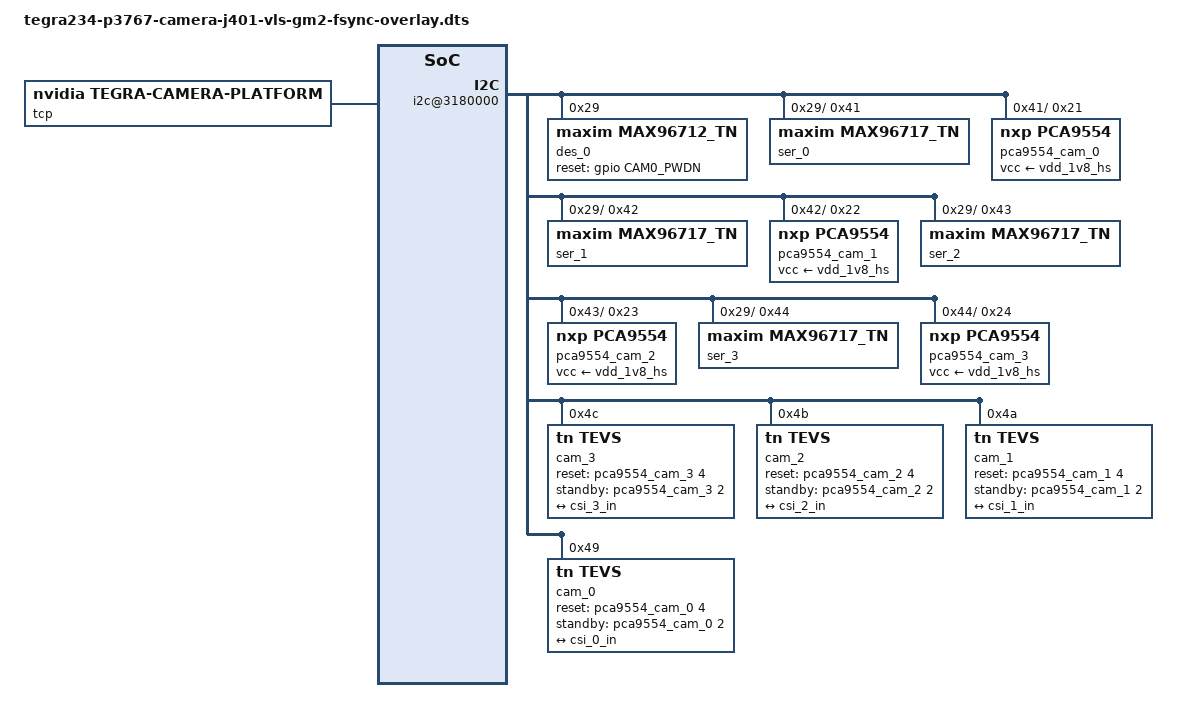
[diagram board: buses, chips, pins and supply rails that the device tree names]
// SPDX-License-Identifier: GPL-2.0-only
// SPDX-FileCopyrightText: Copyright (c) 2023, NVIDIA CORPORATION & AFFILIATES. All rights reserved.

/dts-v1/;
/plugin/;

#include <dt-bindings/tegra234-p3767-0000-common.h>
#include <dt-bindings/pinctrl/pinctrl-tegra.h>

#define CAM0_RST_L	TEGRA234_MAIN_GPIO(H, 3)
#define CAM0_PWDN   TEGRA234_MAIN_GPIO(H, 6)
#define MFP9 		TEGRA234_MAIN_GPIO(AC, 0)
#define MFP10  		TEGRA234_MAIN_GPIO(Z, 7)

#define SYNC_OUT	TEGRA234_MAIN_GPIO(G, 6)

#define CAM_I2C_MUX 	TEGRA234_AON_GPIO(CC, 3)

#define CAM_NUM					4

#define CAM0_PORT 				2
#define CAM0_LANES 				4
#define CAM0_VC_ID 				0
#define CAM0_LANES_STRING 		"4"
#define CAM0_SINTERFACE			"serial_c"
#define CAM0_LANE_POLARITY		"0"
#define CAM0_PIXEL_CLK			"140000000"
// #define CAM0_SERDES_PIXEL_CLK	"625000000"
#define CAM0_SERDES_LINK_FREQ	"1250000000"
#define CAM0_DES_PHY_ID			1

#define CAM1_PORT 				2
#define CAM1_LANES 				4
#define CAM1_VC_ID 				1
#define CAM1_LANES_STRING 		"4"
#define CAM1_SINTERFACE			"serial_c"
#define CAM1_LANE_POLARITY		"0"
#define CAM1_PIXEL_CLK			"140000000"
// #define CAM1_SERDES_PIXEL_CLK	"625000000"
#define CAM1_SERDES_LINK_FREQ	"1250000000"
#define CAM1_DES_PHY_ID			1

#define CAM2_PORT 				2
#define CAM2_LANES 				4
#define CAM2_VC_ID 				2
#define CAM2_LANES_STRING 		"4"
#define CAM2_SINTERFACE			"serial_c"
#define CAM2_LANE_POLARITY		"0"
#define CAM2_PIXEL_CLK			"140000000"
// #define CAM2_SERDES_PIXEL_CLK	"625000000"
#define CAM2_SERDES_LINK_FREQ	"1250000000"
#define CAM2_DES_PHY_ID			1

#define CAM3_PORT 				2
#define CAM3_LANES 				4
#define CAM3_VC_ID 				3
#define CAM3_LANES_STRING 		"4"
#define CAM3_SINTERFACE			"serial_c"
#define CAM3_LANE_POLARITY		"0"
#define CAM3_PIXEL_CLK			"140000000"
// #define CAM3_SERDES_PIXEL_CLK	"625000000"
#define CAM3_SERDES_LINK_FREQ	"1250000000"
#define CAM3_DES_PHY_ID			1

#define DES_LINK_FREQ			1250000000
#define TEVS_LINK_FREQ			280000000

#define TEVS_MODE_COMMON(LANES, SINTERFACE, LANE_POLARITY, PIXEL_CLK, SERDES_LINK_FREQ)	\
	mclk_khz = "24000";							\
	num_lanes = LANES;							\
	tegra_sinterface = SINTERFACE;				\
	lane_polarity = LANE_POLARITY;				\
	phy_mode = "DPHY";							\
	discontinuous_clk = "no";					\
	dpcm_enable = "false";						\
	cil_settletime = "0";						\
	mode_type = "yuv";							\
	pixel_phase = "uyvy";						\
	csi_pixel_bit_depth = "16";					\
	readout_orientation = "90";					\
	line_length = "3448";						\
	inherent_gain = "1";						\
	mclk_multiplier = "9.33";					\
	pix_clk_hz = PIXEL_CLK;						\
	serdes_link_freq = SERDES_LINK_FREQ;		\
	gain_factor = "16";							\
	framerate_factor = "1000000";				\
	exposure_factor = "1000000";				\
	min_gain_val = "16";						\
	max_gain_val = "170";						\
	step_gain_val = "1";						\
	default_gain = "16";						\
	min_hdr_ratio = "1";						\
	max_hdr_ratio = "1";						\
	min_framerate = "2000000";					\
	step_framerate = "1";						\
	min_exp_time = "13";						\
	max_exp_time = "683709";					\
	step_exp_time = "1";						\
	default_exp_time = "2495";					\
	embedded_metadata_height = "0";

#define TEVS_MODES(LANES, SINTERFACE, LANE_POLARITY, PIXEL_CLK, SERDES_LINK_FREQ)	\
	mode0 {										\
		TEVS_MODE_COMMON(LANES, SINTERFACE, LANE_POLARITY, PIXEL_CLK, SERDES_LINK_FREQ)	\
		active_w = "3280";						\
		active_h = "2464";						\
		max_framerate = "21000000";				\
		default_framerate = "21000000";			\
	};											\
	mode1 {										\
		TEVS_MODE_COMMON(LANES, SINTERFACE, LANE_POLARITY, PIXEL_CLK, SERDES_LINK_FREQ)	\
		active_w = "3280";						\
		active_h = "1848";						\
		max_framerate = "28000000";				\
		default_framerate = "28000000";			\
	};											\
	mode2 {										\
		TEVS_MODE_COMMON(LANES, SINTERFACE, LANE_POLARITY, PIXEL_CLK, SERDES_LINK_FREQ)	\
		active_w = "1920";						\
		active_h = "1080";						\
		max_framerate = "30000000";				\
		default_framerate = "30000000";			\
	};											\
	mode3 {										\
		TEVS_MODE_COMMON(LANES, SINTERFACE, LANE_POLARITY, PIXEL_CLK, SERDES_LINK_FREQ)	\
		active_w = "1640";						\
		active_h = "1232";						\
		max_framerate = "30000000";				\
		default_framerate = "30000000";			\
	};											\
	mode4 {										\
		TEVS_MODE_COMMON(LANES, SINTERFACE, LANE_POLARITY, PIXEL_CLK, SERDES_LINK_FREQ)	\
		active_w = "1280";						\
		active_h = "720";						\
		max_framerate = "60000000";				\
		default_framerate = "60000000";			\
	};											\
	mode5 {										\
		TEVS_MODE_COMMON(LANES, SINTERFACE, LANE_POLARITY, PIXEL_CLK, SERDES_LINK_FREQ)	\
		active_w = "640";						\
		active_h = "480";						\
		max_framerate = "60000000";				\
		default_framerate = "60000000";			\
	};

/ {
	overlay-name = "TechNexion VLS-GM2 Camera with FSYNC Pixel Mode";
	jetson-header-name = "Jetson 24pin CSI Connector";
	compatible = JETSON_COMPATIBLE_P3768;

	fragment@0 {
		target-path = "/";
		__overlay__ {
			tegra-capture-vi  {
				num-channels = <CAM_NUM>;
				ports {
					#address-cells = <1>;
					#size-cells = <0>;

					vi_port0: port@0 {
						reg = <0>;

						vi_in0: endpoint {
							vc-id = <CAM0_VC_ID>;
							port-index = <CAM0_PORT>;
							bus-width = <CAM0_LANES>;
							remote-endpoint = <&csi_0_out>;
						};
					};

					vi_port1: port@1 {
						reg = <1>;

						vi_in1: endpoint {
							vc-id = <CAM1_VC_ID>;
							port-index = <CAM1_PORT>;
							bus-width = <CAM1_LANES>;
							remote-endpoint = <&csi_1_out>;
						};
					};

					vi_port2: port@2 {
						reg = <2>;

						vi_in2: endpoint {
							vc-id = <CAM2_VC_ID>;
							port-index = <CAM2_PORT>;
							bus-width = <CAM2_LANES>;
							remote-endpoint = <&csi_2_out>;
						};
					};

					vi_port3: port@3 {
						reg = <3>;

						vi_in3: endpoint {
							vc-id = <CAM3_VC_ID>;
							port-index = <CAM3_PORT>;
							bus-width = <CAM3_LANES>;
							remote-endpoint = <&csi_3_out>;
						};
					};
				};
			};

			tcp: tegra-camera-platform {
				compatible = "nvidia, tegra-camera-platform";
				/**
				* Physical settings to calculate max ISO BW
				*
				* num_csi_lanes = <>;
				* Total number of CSI lanes when all cameras are active
				*
				* max_lane_speed = <>;
				* Max lane speed in Kbit/s
				*
				* min_bits_per_pixel = <>;
				* Min bits per pixel
				*
				* vi_peak_byte_per_pixel = <>;
				* Max byte per pixel for the VI ISO case
				*
				* vi_bw_margin_pct = <>;
				* Vi bandwidth margin in percentage
				*
				* max_pixel_rate = <>;
				* Max pixel rate in Kpixel/s for the ISP ISO case
				*
				* isp_peak_byte_per_pixel = <>;
				* Max byte per pixel for the ISP ISO case
				*
				* isp_bw_margin_pct = <>;
				* Isp bandwidth margin in percentage
				*/
				num_csi_lanes = <4>;
				max_lane_speed = <2500000>;
				min_bits_per_pixel = <16>;
				vi_peak_byte_per_pixel = <2>;
				vi_bw_margin_pct = <25>;
				// max_pixel_rate = <240000>;
				// isp_peak_byte_per_pixel = <5>;
				// isp_bw_margin_pct = <25>;

				/**
				 * The general guideline for naming badge_info contains 3 parts, and is as follows,
				 * The first part is the camera_board_id for the module; if the module is in a FFD
				 * platform, then use the platform name for this part.
				 * The second part contains the position of the module, ex. "rear" or "front".
				 * The third part contains the last 6 characters of a part number which is found
				 * in the module's specsheet from the vendor.
				 */
				modules {
					cam_module0: module0 {
						badge = "jakku_front_RBP194";
						position = "front";
						orientation = "1";
						cam_module0_drivernode0: drivernode0 {
							pcl_id = "v4l2_sensor";
							sysfs-device-tree = "/sys/firmware/devicetree/base/bus@0/i2c@3180000/rpi22_tevs_a@49";
						};
					};

					cam_module1: module1 {
						badge = "jakku_front_RBP194";
						position = "front";
						orientation = "1";
						cam_module1_drivernode0: drivernode0 {
							pcl_id = "v4l2_sensor";
							sysfs-device-tree = "/sys/firmware/devicetree/base/bus@0/i2c@3180000/rpi22_tevs_b@4a";
						};
					};

					cam_module2: module2 {
						badge = "jakku_front_RBP194";
						position = "front";
						orientation = "1";
						cam_module2_drivernode0: drivernode0 {
							pcl_id = "v4l2_sensor";
							sysfs-device-tree = "/sys/firmware/devicetree/base/bus@0/i2c@3180000/rpi22_tevs_c@4b";
						};
					};

					cam_module3: module3 {
						badge = "jakku_front_RBP194";
						position = "front";
						orientation = "1";
						cam_module3_drivernode0: drivernode0 {
							pcl_id = "v4l2_sensor";
							sysfs-device-tree = "/sys/firmware/devicetree/base/bus@0/i2c@3180000/rpi22_tevs_d@4c";
						};
					};
				};
			};

			bus@0 {
				host1x@13e00000 {
					nvcsi@15a00000 {
						#address-cells = <1>;
						#size-cells = <0>;

						num-channels = <CAM_NUM>;

						channel@0 {
							reg = <0>;
							ports {
								#address-cells = <1>;
								#size-cells = <0>;

								port@0 {
									reg = <0>;

									csi_0_in: endpoint@0 {
										port-index = <CAM0_PORT>;
										bus-width = <CAM0_LANES>;
										remote-endpoint = <&rpi22_tevs_0_out>;
									};
								};

								port@1 {
									reg = <1>;

									csi_0_out: endpoint@1 {
										remote-endpoint = <&vi_in0>;
									};
								};
							};
						};

						channel@1 {
							reg = <1>;
							ports {
								#address-cells = <1>;
								#size-cells = <0>;

								port@0 {
									reg = <0>;

									csi_1_in: endpoint@2 {
										port-index = <CAM1_PORT>;
										bus-width = <CAM1_LANES>;
										remote-endpoint = <&rpi22_tevs_1_out>;
									};
								};

								port@1 {
									reg = <1>;

									csi_1_out: endpoint@3 {
										remote-endpoint = <&vi_in1>;
									};
								};
							};
						};

						channel@2 {
							reg = <2>;
							ports {
								#address-cells = <1>;
								#size-cells = <0>;

								port@0 {
									reg = <0>;

									csi_2_in: endpoint@4 {
										port-index = <CAM2_PORT>;
										bus-width = <CAM2_LANES>;
										remote-endpoint = <&rpi22_tevs_2_out>;
									};
								};

								port@1 {
									reg = <1>;

									csi_2_out: endpoint@5 {
										remote-endpoint = <&vi_in2>;
									};
								};
							};
						};

						channel@3 {
							reg = <3>;
							ports {
								#address-cells = <1>;
								#size-cells = <0>;

								port@0 {
									reg = <0>;

									csi_3_in: endpoint@6 {
										port-index = <CAM3_PORT>;
										bus-width = <CAM3_LANES>;
										remote-endpoint = <&rpi22_tevs_3_out>;
									};
								};

								port@1 {
									reg = <1>;

									csi_3_out: endpoint@7 {
										remote-endpoint = <&vi_in3>;
									};
								};
							};
						};
					};
				};

				gpio@2200000 {
					camera-control-output-high {
						status = "disabled";
						gpio-hog;
						output-high;
						gpios = <CAM0_PWDN 0 MFP9 0 MFP10 0>;
						label = "cam0-pwdn", "mfp9", "mfp10";
					};
				};

				i2c@3180000 {
					des_0: gmsl-deserializer@29 {
						#address-cells = <1>;
						#size-cells = <0>;

						compatible = "maxim,max96712_tn";
						reg = <0x29>;

						reset-gpios = <&gpio CAM0_PWDN GPIO_ACTIVE_HIGH>;

						//i2c addr alias map "serializer0, serializer1, serializer2, serializer3"
						i2c-addr-alias-map-local = <0x41 0x42 0x43 0x44>;
						i2c-addr-alias-map-remote = <0x40 0x40 0x40 0x40>;
						i2c-addr-alias-source-id = <0 0 0 0>;

						gpio-controller;
						#gpio-cells = <2>;
						gpio-ranges = <&des_0 0 0 8>;

						fsync-mode = "internal";
						fsync-freq = <30>;

						i2c-mux {
							#address-cells = <1>;
							#size-cells = <0>;

							des_0_i2c_0: i2c@0 {
								#address-cells = <1>;
								#size-cells = <0>;

								reg = <0>;
							};

							des_0_i2c_1: i2c@1 {
								#address-cells = <1>;
								#size-cells = <0>;

								reg = <1>;
							};

							des_0_i2c_2: i2c@2 {
								#address-cells = <1>;
								#size-cells = <0>;

								reg = <2>;
							};

							des_0_i2c_3: i2c@3 {
								#address-cells = <1>;
								#size-cells = <0>;

								reg = <3>;
							};
						};

						phy@1 {
							reg = <1>;
						};

						pipe@0 {
							reg = <0>;

							maxim,phy-id = <CAM0_DES_PHY_ID>;
						};

						pipe@1 {
							reg = <1>;

							maxim,phy-id = <CAM1_DES_PHY_ID>;
						};

						pipe@2 {
							reg = <2>;

							maxim,phy-id = <CAM2_DES_PHY_ID>;
						};

						pipe@3 {
							reg = <3>;

							maxim,phy-id = <CAM3_DES_PHY_ID>;
						};

						channel@0 {
							reg = <0>;
							label = "des_0_ch_0";

							maxim,phy-id = <CAM0_DES_PHY_ID>;

							clock-lanes = <0>;
							data-lanes = <1 2 3 4>;
							link-frequencies = /bits/ 64 <DES_LINK_FREQ>;
						};

						channel@1 {
							reg = <1>;
							label = "des_0_ch_1";

							maxim,phy-id = <CAM1_DES_PHY_ID>;

							clock-lanes = <0>;
							data-lanes = <1 2 3 4>;
							link-frequencies = /bits/ 64 <DES_LINK_FREQ>;
						};

						channel@2 {
							reg = <2>;
							label = "des_0_ch_2";

							maxim,phy-id = <CAM2_DES_PHY_ID>;

							clock-lanes = <0>;
							data-lanes = <1 2 3 4>;
							link-frequencies = /bits/ 64 <DES_LINK_FREQ>;
						};

						channel@3 {
							reg = <3>;
							label = "des_0_ch_3";

							maxim,phy-id = <CAM3_DES_PHY_ID>;

							clock-lanes = <0>;
							data-lanes = <1 2 3 4>;
							link-frequencies = /bits/ 64 <DES_LINK_FREQ>;
						};
					};

					cam_3: rpi22_tevs_d@4c {
						compatible = "tn,tevs";
						/* I2C device address */
						reg = <0x4c>;
						status = "okay";

						reset-gpios = <&pca9554_cam_3 4 GPIO_ACTIVE_HIGH>;
						standby-gpios = <&pca9554_cam_3 2 GPIO_ACTIVE_HIGH>;
						technexion,gmsl-ser = <&ser_3>;
						technexion,gmsl-des = <&des_0>;
						technexion,gmsl-des-channel = <3>;
						trigger-mode = <2>;

						/* V4L2 device node location */
						devnode = "video3";
						/* Physical dimensions of sensor */
						physical_w = "3.680";
						physical_h = "2.760";
						sensor_model = "tevs";
						use_sensor_mode_id = "false";

						TEVS_MODES(CAM3_LANES_STRING, CAM3_SINTERFACE, CAM3_LANE_POLARITY, CAM3_PIXEL_CLK, CAM3_SERDES_LINK_FREQ)

						ports {
							#address-cells = <1>;
							#size-cells = <0>;
							port@0 {
								reg = <0>;

								rpi22_tevs_3_out: endpoint {
									port-index = <CAM3_PORT>;
									bus-width = <CAM3_LANES>;
									remote-endpoint = <&csi_3_in>;
									link-frequencies = /bits/ 64 <TEVS_LINK_FREQ>;
								};
							};
						};
					};

					cam_2: rpi22_tevs_c@4b {
						compatible = "tn,tevs";
						/* I2C device address */
						reg = <0x4b>;
						status = "okay";

						reset-gpios = <&pca9554_cam_2 4 GPIO_ACTIVE_HIGH>;
						standby-gpios = <&pca9554_cam_2 2 GPIO_ACTIVE_HIGH>;
						technexion,gmsl-ser = <&ser_2>;
						technexion,gmsl-des = <&des_0>;
						technexion,gmsl-des-channel = <2>;
						trigger-mode = <2>;

						/* V4L2 device node location */
						devnode = "video2";
						/* Physical dimensions of sensor */
						physical_w = "3.680";
						physical_h = "2.760";
						sensor_model = "tevs";
						use_sensor_mode_id = "false";

						TEVS_MODES(CAM2_LANES_STRING, CAM2_SINTERFACE, CAM2_LANE_POLARITY, CAM2_PIXEL_CLK, CAM2_SERDES_LINK_FREQ)

						ports {
							#address-cells = <1>;
							#size-cells = <0>;
							port@0 {
								reg = <0>;

								rpi22_tevs_2_out: endpoint {
									port-index = <CAM2_PORT>;
									bus-width = <CAM2_LANES>;
									remote-endpoint = <&csi_2_in>;
									link-frequencies = /bits/ 64 <TEVS_LINK_FREQ>;
								};
							};
						};
					};

					cam_1: rpi22_tevs_b@4a {
						compatible = "tn,tevs";
						/* I2C device address */
						reg = <0x4a>;
						status = "okay";

						reset-gpios = <&pca9554_cam_1 4 GPIO_ACTIVE_HIGH>;
						standby-gpios = <&pca9554_cam_1 2 GPIO_ACTIVE_HIGH>;
						technexion,gmsl-ser = <&ser_1>;
						technexion,gmsl-des = <&des_0>;
						technexion,gmsl-des-channel = <1>;
						trigger-mode = <2>;

						/* V4L2 device node location */
						devnode = "video1";
						/* Physical dimensions of sensor */
						physical_w = "3.680";
						physical_h = "2.760";
						sensor_model = "tevs";
						use_sensor_mode_id = "false";

						TEVS_MODES(CAM1_LANES_STRING, CAM1_SINTERFACE, CAM1_LANE_POLARITY, CAM1_PIXEL_CLK, CAM1_SERDES_LINK_FREQ)

						ports {
							#address-cells = <1>;
							#size-cells = <0>;
							port@0 {
								reg = <0>;

								rpi22_tevs_1_out: endpoint {
									port-index = <CAM1_PORT>;
									bus-width = <CAM1_LANES>;
									remote-endpoint = <&csi_1_in>;
									link-frequencies = /bits/ 64 <TEVS_LINK_FREQ>;
								};
							};
						};
					};

					cam_0: rpi22_tevs_a@49 {
						compatible = "tn,tevs";
						/* I2C device address */
						reg = <0x49>;
						status = "okay";

						reset-gpios = <&pca9554_cam_0 4 GPIO_ACTIVE_HIGH>;
						standby-gpios = <&pca9554_cam_0 2 GPIO_ACTIVE_HIGH>;
						technexion,gmsl-ser = <&ser_0>;
						technexion,gmsl-des = <&des_0>;
						technexion,gmsl-des-channel = <0>;
						trigger-mode = <2>;

						/* V4L2 device node location */
						devnode = "video0";
						/* Physical dimensions of sensor */
						physical_w = "3.680";
						physical_h = "2.760";
						sensor_model = "tevs";
						use_sensor_mode_id = "false";

						TEVS_MODES(CAM0_LANES_STRING, CAM0_SINTERFACE, CAM0_LANE_POLARITY, CAM0_PIXEL_CLK, CAM0_SERDES_LINK_FREQ)

						ports {
							#address-cells = <1>;
							#size-cells = <0>;
							port@0 {
								reg = <0>;

								rpi22_tevs_0_out: endpoint {
									port-index = <CAM0_PORT>;
									bus-width = <CAM0_LANES>;
									remote-endpoint = <&csi_0_in>;
									link-frequencies = /bits/ 64 <TEVS_LINK_FREQ>;
								};
							};
						};
					};
				};
			};
		};
	};
};

&des_0_i2c_0 {
	ser_0: gmsl-serializer@41 {
		#address-cells = <1>;
		#size-cells = <0>;

		compatible = "maxim,max96717_tn";
		reg = <0x41>;

		// i2c addr alias map "sensor, gpio expander"
		i2c-addr-alias-map-local = <0x49 0x21>;
		i2c-addr-alias-map-remote = <0x48 0x25>;

		gpio-controller;
		#gpio-cells = <2>;
		gpio-ranges = <&ser_0 0 0 11>;

		pinctrl-names = "default";
		pinctrl-0 = <&ser_0_pinmux_default>;

		ser_0_pinmux_default: pinmux {
			mfp0_fsync {
				pins = "mfp0";
				function = "gpio";
				maxim,gmsl-rx = <1>;
				maxim,gmsl-rx-id = <0>;
				output-enable;
				output-low;
			};
		};

		i2c-mux {
			#address-cells = <1>;
			#size-cells = <0>;

			ser_0_i2c_0: i2c@0 {
				#address-cells = <1>;
				#size-cells = <0>;

				reg = <0>;
			};
		};

		pipe@0 {
			reg = <0>;

			maxim,stream-id = <0>;
		};

		channel@0 {
			reg = <0>;
			label = "ser_0_ch_0";

			clock-lanes = <0>;
			data-lanes = <1 2 3 4>;
		};
	};
};

&ser_0_i2c_0 {
	pca9554_cam_0: pca9554@21 {
		compatible = "nxp,pca9554";
		reg = <0x21>;
		gpio-controller;
		#gpio-cells = <2>;
		gpio-line-names = "EXPOSURE_TRIG_IN",
						"FLASH_OUT",
						"INFO_TRIG_IN",
						"CAMA_SHUTTER",
						"CSI_P1_nRST",
						"PWR_TIME0",
						"PWR_TIME1",
						"3V3_EN";
		vcc-supply = <&vdd_1v8_hs>;
		vcc_lp = "vcc";
		status = "okay";
	};
};

&des_0_i2c_1 {
	ser_1: gmsl-serializer@42 {
		#address-cells = <1>;
		#size-cells = <0>;

		compatible = "maxim,max96717_tn";
		reg = <0x42>;

		// i2c addr alias map "sensor, gpio expander"
		i2c-addr-alias-map-local = <0x4a 0x22>;
		i2c-addr-alias-map-remote = <0x48 0x25>;

		gpio-controller;
		#gpio-cells = <2>;
		gpio-ranges = <&ser_1 0 0 11>;

		pinctrl-names = "default";
		pinctrl-0 = <&ser_1_pinmux_default>;

		ser_1_pinmux_default: pinmux {
			mfp0_fsync {
				pins = "mfp0";
				function = "gpio";
				maxim,gmsl-rx = <1>;
				maxim,gmsl-rx-id = <0>;
				output-enable;
				output-low;
			};
		};

		i2c-mux {
			#address-cells = <1>;
			#size-cells = <0>;

			ser_1_i2c_0: i2c@0 {
				#address-cells = <1>;
				#size-cells = <0>;

				reg = <0>;
			};
		};

		pipe@0 {
			reg = <0>;

			maxim,stream-id = <1>;
		};

		channel@0 {
			reg = <0>;
			label = "ser_1_ch_0";

			clock-lanes = <0>;
			data-lanes = <1 2 3 4>;
		};
	};
};

&ser_1_i2c_0 {
	pca9554_cam_1: pca9554@22 {
		compatible = "nxp,pca9554";
		reg = <0x22>;
		gpio-controller;
		#gpio-cells = <2>;
		gpio-line-names = "EXPOSURE_TRIG_IN",
						"FLASH_OUT",
						"INFO_TRIG_IN",
						"CAMA_SHUTTER",
						"CSI_P1_nRST",
						"PWR_TIME0",
						"PWR_TIME1",
						"3V3_EN";
		vcc-supply = <&vdd_1v8_hs>;
		vcc_lp = "vcc";
		status = "okay";
	};
};

&des_0_i2c_2 {
	ser_2: gmsl-serializer@43 {
		#address-cells = <1>;
		#size-cells = <0>;

		compatible = "maxim,max96717_tn";
		reg = <0x43>;

		// i2c addr alias map "sensor, gpio expander"
		i2c-addr-alias-map-local = <0x4b 0x23>;
		i2c-addr-alias-map-remote = <0x48 0x25>;

		gpio-controller;
		#gpio-cells = <2>;
		gpio-ranges = <&ser_2 0 0 11>;

		pinctrl-names = "default";
		pinctrl-0 = <&ser_2_pinmux_default>;

		ser_2_pinmux_default: pinmux {
			mfp0_fsync {
				pins = "mfp0";
				function = "gpio";
				maxim,gmsl-rx = <1>;
				maxim,gmsl-rx-id = <0>;
				output-enable;
				output-low;
			};
		};

		i2c-mux {
			#address-cells = <1>;
			#size-cells = <0>;

			ser_2_i2c_0: i2c@0 {
				#address-cells = <1>;
				#size-cells = <0>;

				reg = <0>;
			};
		};

		pipe@0 {
			reg = <0>;

			maxim,stream-id = <2>;
		};

		channel@0 {
			reg = <0>;
			label = "ser_2_ch_0";

			clock-lanes = <0>;
			data-lanes = <1 2 3 4>;
		};
	};
};

&ser_2_i2c_0 {
	pca9554_cam_2: pca9554@23 {
		compatible = "nxp,pca9554";
		reg = <0x23>;
		gpio-controller;
		#gpio-cells = <2>;
		gpio-line-names = "EXPOSURE_TRIG_IN",
						"FLASH_OUT",
						"INFO_TRIG_IN",
						"CAMA_SHUTTER",
						"CSI_P1_nRST",
						"PWR_TIME0",
						"PWR_TIME1",
						"3V3_EN";
		vcc-supply = <&vdd_1v8_hs>;
		vcc_lp = "vcc";
		status = "okay";
	};
};

&des_0_i2c_3 {
	ser_3: gmsl-serializer@44 {
		#address-cells = <1>;
		#size-cells = <0>;

		compatible = "maxim,max96717_tn";
		reg = <0x44>;

		// i2c addr alias map "sensor, gpio expander"
		i2c-addr-alias-map-local = <0x4c 0x24>;
		i2c-addr-alias-map-remote = <0x48 0x25>;

		gpio-controller;
		#gpio-cells = <2>;
		gpio-ranges = <&ser_3 0 0 11>;

		pinctrl-names = "default";
		pinctrl-0 = <&ser_3_pinmux_default>;

		ser_3_pinmux_default: pinmux {
			mfp0_fsync {
				pins = "mfp0";
				function = "gpio";
				maxim,gmsl-rx = <1>;
				maxim,gmsl-rx-id = <0>;
				output-enable;
				output-low;
			};
		};

		i2c-mux {
			#address-cells = <1>;
			#size-cells = <0>;

			ser_3_i2c_0: i2c@0 {
				#address-cells = <1>;
				#size-cells = <0>;

				reg = <0>;
			};
		};

		pipe@0 {
			reg = <0>;

			maxim,stream-id = <3>;
		};

		channel@0 {
			reg = <0>;
			label = "ser_3_ch_0";

			clock-lanes = <0>;
			data-lanes = <1 2 3 4>;
		};
	};
};

&ser_3_i2c_0 {
	pca9554_cam_3: pca9554@24 {
		compatible = "nxp,pca9554";
		reg = <0x24>;
		gpio-controller;
		#gpio-cells = <2>;
		gpio-line-names = "EXPOSURE_TRIG_IN",
						"FLASH_OUT",
						"INFO_TRIG_IN",
						"CAMA_SHUTTER",
						"CSI_P1_nRST",
						"PWR_TIME0",
						"PWR_TIME1",
						"3V3_EN";
		vcc-supply = <&vdd_1v8_hs>;
		vcc_lp = "vcc";
		status = "okay";
	};
};
